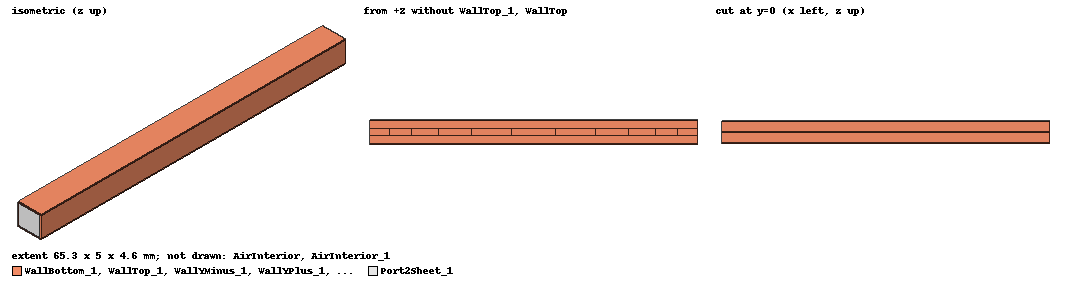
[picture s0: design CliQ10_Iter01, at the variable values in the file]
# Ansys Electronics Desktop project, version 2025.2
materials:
  vacuum: permittivity=1
  copper: permeability=0.999991 conductivity=58000000
  air: permittivity=1.0006 permeability=1.0000004
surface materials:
  Steel-oxidised-surface

design CliQ10_Iter01 (HFSS, HFSS Modal Network, model units mm)
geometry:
  WallBottom [copper] = box(corner=(0mm, -2.5mm, -2.3mm), size=(65.3mm, 5mm, 0.2mm))
  WallTop [copper] = box(corner=(0mm, -2.5mm, 2.1mm), size=(65.3mm, 5mm, 0.2mm))
  WallYMinus [copper] = box(corner=(0mm, -2.5mm, -2.1mm), size=(65.3mm, 0.2mm, 4.2mm))
  WallYPlus [copper] = box(corner=(0mm, 2.3mm, -2.1mm), size=(65.3mm, 0.2mm, 4.2mm))
  InputFeed [copper] = box(corner=(0mm, -0.6mm, -0.1mm), size=(4mm, 1.2mm, 0.2mm))
  CoreSection01 [copper] = box(corner=(4mm, -0.6mm, -0.06mm), size=(4.4076923mm, 1.2mm, 0.12mm))
  CoreSection02 [copper] = box(corner=(8.4076923mm, -0.6mm, -0.175mm), size=(5.2892308mm, 1.2mm, 0.35mm))
  CoreSection03 [copper] = box(corner=(13.696923mm, -0.6mm, -0.06mm), size=(6.6115385mm, 1.2mm, 0.12mm))
  CoreSection04 [copper] = box(corner=(20.308462mm, -0.6mm, -0.175mm), size=(7.9338462mm, 1.2mm, 0.35mm))
  CoreSection05 [copper] = box(corner=(28.242308mm, -0.6mm, -0.06mm), size=(8.8153846mm, 1.2mm, 0.12mm))
  CoreSection06 [copper] = box(corner=(37.057692mm, -0.6mm, -0.175mm), size=(7.9338462mm, 1.2mm, 0.35mm))
  CoreSection07 [copper] = box(corner=(44.991538mm, -0.6mm, -0.06mm), size=(6.6115385mm, 1.2mm, 0.12mm))
  CoreSection08 [copper] = box(corner=(51.603077mm, -0.6mm, -0.175mm), size=(5.2892308mm, 1.2mm, 0.35mm))
  CoreSection09 [copper] = box(corner=(56.892308mm, -0.6mm, -0.06mm), size=(4.4076923mm, 1.2mm, 0.12mm))
  OutputFeed [copper] = box(corner=(61.3mm, -0.6mm, -0.1mm), size=(4mm, 1.2mm, 0.2mm))
  AirInterior [air] = box(corner=(0mm, -2.3mm, -2.1mm), size=(65.3mm, 4.6mm, 4.2mm))
  InputFeed_1 = InputFeed.copy()
  CoreSection01_1 = CoreSection01.copy()
  CoreSection02_1 = CoreSection02.copy()
  CoreSection03_1 = CoreSection03.copy()
  CoreSection04_1 = CoreSection04.copy()
  CoreSection05_1 = CoreSection05.copy()
  CoreSection06_1 = CoreSection06.copy()
  CoreSection07_1 = CoreSection07.copy()
  CoreSection08_1 = CoreSection08.copy()
  CoreSection09_1 = CoreSection09.copy()
  OutputFeed_1 = OutputFeed.copy()
  AirInterior.subtract(InputFeed_1, CoreSection01_1, CoreSection02_1, CoreSection03_1, CoreSection04_1, CoreSection05_1, CoreSection06_1, CoreSection07_1, CoreSection08_1, CoreSection09_1, OutputFeed_1)
  Port1Sheet = rectangle(corner=(0mm, -2.3mm, -2.1mm), y_size=4.6mm, z_size=4.2mm)
  Port2Sheet = rectangle(corner=(65.3mm, -2.3mm, -2.1mm), y_size=4.6mm, z_size=4.2mm)
  WallBottom_1 [copper] = box(corner=(0mm, -2.5mm, -2.3mm), size=(65.3mm, 5mm, 0.2mm))
  WallTop_1 [copper] = box(corner=(0mm, -2.5mm, 2.1mm), size=(65.3mm, 5mm, 0.2mm))
  WallYMinus_1 [copper] = box(corner=(0mm, -2.5mm, -2.1mm), size=(65.3mm, 0.2mm, 4.2mm))
  WallYPlus_1 [copper] = box(corner=(0mm, 2.3mm, -2.1mm), size=(65.3mm, 0.2mm, 4.2mm))
  InputFeed_2 [copper] = box(corner=(0mm, -0.6mm, -0.1mm), size=(4mm, 1.2mm, 0.2mm))
  CoreSection01_2 [copper] = box(corner=(4mm, -0.6mm, -0.06mm), size=(4.4076923mm, 1.2mm, 0.12mm))
  CoreSection02_2 [copper] = box(corner=(8.4076923mm, -0.6mm, -0.175mm), size=(5.2892308mm, 1.2mm, 0.35mm))
  CoreSection03_2 [copper] = box(corner=(13.696923mm, -0.6mm, -0.06mm), size=(6.6115385mm, 1.2mm, 0.12mm))
  CoreSection04_2 [copper] = box(corner=(20.308462mm, -0.6mm, -0.175mm), size=(7.9338462mm, 1.2mm, 0.35mm))
  CoreSection05_2 [copper] = box(corner=(28.242308mm, -0.6mm, -0.06mm), size=(8.8153846mm, 1.2mm, 0.12mm))
  CoreSection06_2 [copper] = box(corner=(37.057692mm, -0.6mm, -0.175mm), size=(7.9338462mm, 1.2mm, 0.35mm))
  CoreSection07_2 [copper] = box(corner=(44.991538mm, -0.6mm, -0.06mm), size=(6.6115385mm, 1.2mm, 0.12mm))
  CoreSection08_2 [copper] = box(corner=(51.603077mm, -0.6mm, -0.175mm), size=(5.2892308mm, 1.2mm, 0.35mm))
  CoreSection09_2 [copper] = box(corner=(56.892308mm, -0.6mm, -0.06mm), size=(4.4076923mm, 1.2mm, 0.12mm))
  OutputFeed_2 [copper] = box(corner=(61.3mm, -0.6mm, -0.1mm), size=(4mm, 1.2mm, 0.2mm))
  AirInterior_1 [air] = box(corner=(0mm, -2.3mm, -2.1mm), size=(65.3mm, 4.6mm, 4.2mm))
  InputFeed_2_1 = InputFeed_2.copy()
  CoreSection01_2_1 = CoreSection01_2.copy()
  CoreSection02_2_1 = CoreSection02_2.copy()
  CoreSection03_2_1 = CoreSection03_2.copy()
  CoreSection04_2_1 = CoreSection04_2.copy()
  CoreSection05_2_1 = CoreSection05_2.copy()
  CoreSection06_2_1 = CoreSection06_2.copy()
  CoreSection07_2_1 = CoreSection07_2.copy()
  CoreSection08_2_1 = CoreSection08_2.copy()
  CoreSection09_2_1 = CoreSection09_2.copy()
  OutputFeed_2_1 = OutputFeed_2.copy()
  AirInterior_1.subtract(InputFeed_2_1, CoreSection01_2_1, CoreSection02_2_1, CoreSection03_2_1, CoreSection04_2_1, CoreSection05_2_1, CoreSection06_2_1, CoreSection07_2_1, CoreSection08_2_1, CoreSection09_2_1, OutputFeed_2_1)
  Port1Sheet_1 = rectangle(corner=(0mm, -2.3mm, -2.1mm), y_size=4.6mm, z_size=4.2mm)
  Port2Sheet_1 = rectangle(corner=(65.3mm, -2.3mm, -2.1mm), y_size=4.6mm, z_size=4.2mm)
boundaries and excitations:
  Port1: Wave Port Objects=Port1Sheet WavePortType=Modal NumModes=2 Modes{Mode1{CharImp=Zpi RenormImp=50ohm} Mode2{CharImp=Zpi RenormImp=50ohm}}
  Port2: Wave Port Objects=Port2Sheet WavePortType=Modal NumModes=2 Modes{Mode1{CharImp=Zpi RenormImp=50ohm} Mode2{CharImp=Zpi RenormImp=50ohm}}
  Port1_Q57IM3: Wave Port Objects=Port1Sheet_1 WavePortType=Modal NumModes=2 Modes{Mode1{CharImp=Zpi RenormImp=50ohm} Mode2{CharImp=Zpi RenormImp=50ohm}}
  Port2_HVMBGW: Wave Port Objects=Port2Sheet_1 WavePortType=Modal NumModes=2 Modes{Mode1{CharImp=Zpi RenormImp=50ohm} Mode2{CharImp=Zpi RenormImp=50ohm}}
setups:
  Setup1: HfssDriven Frequency=40GHz MaxDeltaS=0.02 MaximumPasses=10 MinimumPasses=2 MinimumConvergedPasses=1 PercentRefinement=30 BasisOrder=1 PortAccuracy=2 DrivenSolverType="Direct Solver"
    sweep Sweep1: 0.01GHz to 40GHz, 401 points; Type=Interpolating InterpTolerance=0.5 InterpMaxSolns=250 InterpUsePortImped=false PassivityErrorTolerance=0.0001
  Setup1_2: HfssDriven Frequency=40GHz MaxDeltaS=0.02 MaximumPasses=10 MinimumPasses=2 MinimumConvergedPasses=1 PercentRefinement=30 BasisOrder=1 PortAccuracy=2 DrivenSolverType="Direct Solver"
    sweep Sweep1: 0.01GHz to 40GHz, 401 points; Type=Interpolating InterpTolerance=0.5 InterpMaxSolns=250 InterpUsePortImped=false PassivityErrorTolerance=0.0001
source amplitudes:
  Port1:1: 1W 0deg
  Port1:2, Port2:1, Port2:2, Port1_Q57IM3:1, Port1_Q57IM3:2, Port2_HVMBGW:1, Port2_HVMBGW:2: 0W 0deg
